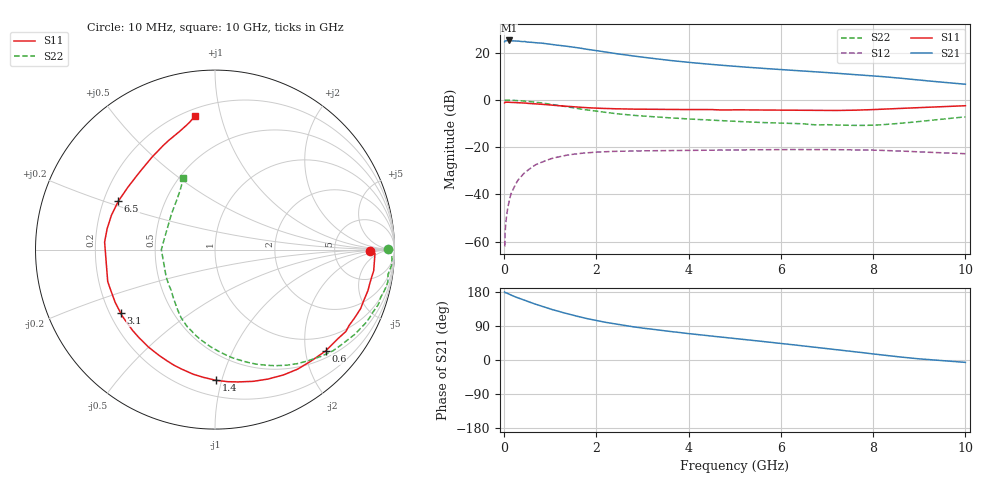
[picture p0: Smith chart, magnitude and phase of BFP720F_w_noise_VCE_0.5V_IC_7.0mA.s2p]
! Infineon Technologies  Discrete & RF Semiconductors
! BFP720F
! VCE =  0.5 V,  IC =  7.0 mA
! Common Emitter S-Parameters:  Jan 2016
# GHz  S  MA  R  50
!  f  S11  S21  S12  S22
! GHz  MAG  ANG  MAG  ANG  MAG  ANG  MAG  ANG
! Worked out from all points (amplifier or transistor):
!   233 points, 10 MHz to 10 GHz, reference 50 ohm
!   highest |S21| = 25.2 dB at 100 MHz (marker M1)
!   |S21| within 3 dB of that: start of sweep to 1.564 GHz
!   unconditionally stable (mu >= 1): start of sweep to 14.63 MHz; 7.373 GHz to end of sweep
!   at 200 MHz: K = 0.05, MSG = 31.3 dB, |S12| = -37.7 dB
!   at 1.74 GHz: K = 0.27, MSG = 22.0 dB, |S12| = -22.5 dB
!   at 10 GHz: K = 1.32, MAG = 11.3 dB, |S12| = -22.8 dB
!   lowest NFmin = 0.48 dB at 450 MHz
!   S11 on the Smith chart (normalised r, x): 10 MHz: 14, -1; 600 MHz: 0.65, -2.42; 1.4 GHz: 0.31, -0.96; 3.1 GHz: 0.24, -0.29; 6.5 GHz: 0.26, +0.22; 10 GHz: 0.24, +0.83
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0.01  0.8639 -0.5  16.96 179.4  0.0008 -14.9  0.9619 0.1
0.02  0.8916 -1.4  17.71 177.8  0.0015 81.4  0.9852 -1.6
0.05  0.8907 -4.0  17.89 177.1  0.0033 84.3  0.9875 -2.6
0.1  0.892 -7.6  18.11 174.2  0.0066 84.7  0.987 -5.2
0.34  0.8682 -25.0  17.36 161.9  0.0221 75.8  0.961 -17.9
0.45  0.8602 -32.0  17.23 157.1  0.029 71.2  0.9415 -23.6
0.5  0.845 -36.2  16.72 154.8  0.0315 69.7  0.9343 -25.9
0.6  0.8361 -42.5  16.58 150.7  0.0376 65.5  0.9103 -31.3
0.8  0.8096 -55.4  15.96 142.5  0.0473 58.4  0.8667 -40.5
0.96  0.7846 -65.2  15.25 136.2  0.0545 52.5  0.8194 -48.1
1.4  0.7285 -89.5  13.48 121.2  0.0685 39.6  0.7027 -66.4
1.68  0.6947 -104.0  12.29 112.5  0.0741 32.7  0.6352 -76.7
2  0.6687 -117.0  11.05 104.1  0.0783 26.3  0.5735 -86.9
2.38  0.6493 -129.8  9.668 95.6  0.0812 19.8  0.5165 -97.4
3.1  0.6336 -146.0  7.803 82.8  0.0836 11.6  0.4487 -111.2
3.4  0.6294 -150.7  7.189 78.3  0.0842 8.7  0.4284 -115.3
4  0.6239 -158.5  6.219 69.6  0.0853 4.1  0.394 -122.0
5.1  0.6148 174.7  5.046 55.4  0.0872 -3.2  0.348 -132.7
6.5  0.6025 153.4  4.081 36.9  0.089 -12.5  0.3115 -150.9
6.8  0.5973 148.0  3.895 32.8  0.0887 -14.5  0.2945 -168.1
8.4  0.6476 116.5  2.991 10.4  0.0841 -25.8  0.3082 143.1
10  0.752 98.6  2.143 -6.3  0.0726 -31.3  0.4374 113.8
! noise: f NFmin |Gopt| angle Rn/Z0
0.45  0.48  0.4  3  0.2
0.9  0.5  0.38  9  0.16
1.8  0.54  0.35  18  0.15
2.4  0.57  0.33  28  0.13
5.5  0.74  0.31  57  0.09
10  0.96  0.26  -100  0.16
